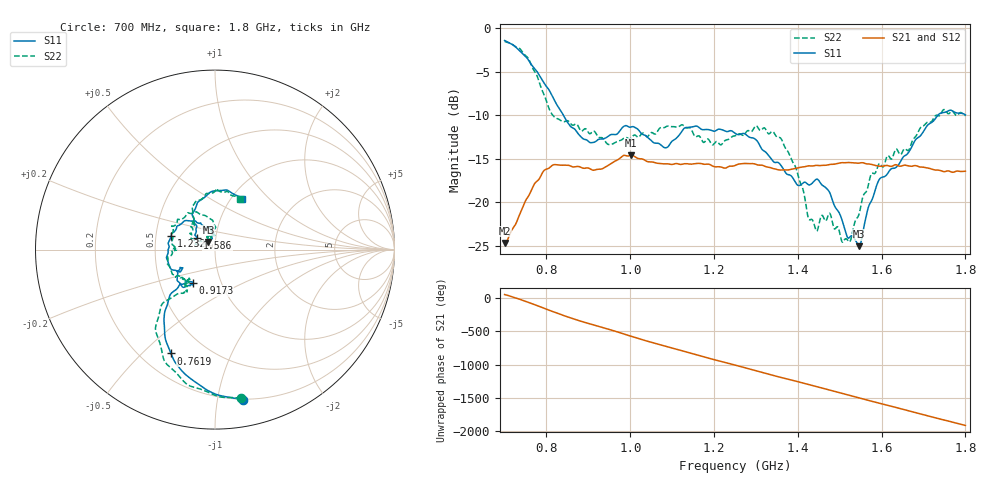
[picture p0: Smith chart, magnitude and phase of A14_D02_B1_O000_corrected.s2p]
! Created with skrf 1.9.0 (http://scikit-rf.org).
# Hz S RI R 50.0
!freq ReS11 ImS11 ReS21 ImS21 ReS12 ImS12 ReS22 ImS22
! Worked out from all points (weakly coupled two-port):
!   1601 points, 700 MHz to 1.8 GHz, reference 50 ohm
!   highest |S21| = -14.59 dB at 1.002 GHz (marker M1); lowest = -24.7 dB at 700 MHz (marker M2)
!   lowest |S11| = -25.0 dB at 1.546 GHz (marker M3), VSWR 1.12, Z = 46.3 + j3.94 ohm
!   |S11| at or under -10 dB: 840.3 MHz to 1.734 GHz (893.8 MHz wide, 69.4 % of centre)
!   |S22| runs from -24.6 to -1.5 dB; largest |S21 - S12| = 0.0035
!   S11 on the Smith chart (normalised r, x): 700 MHz: 0.20, -1.19; 761.9 MHz: 0.32, -0.61; 917.2 MHz: 0.73, -0.29; 1.232 GHz: 0.60, +0.10; 1.586 GHz: 0.81, +0.11; 1.8 GHz: 1.12, +0.70
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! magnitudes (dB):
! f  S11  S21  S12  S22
! 700 MHz  -1.4  -24.7  -24.4  -1.5
! 761.9 MHz  -4.0  -18.8  -18.8  -4.0
! 814.1 MHz  -7.8  -15.7  -15.8  -9.9
! 883.6 MHz  -12.5  -16.0  -15.9  -11.8
! 917.2 MHz  -13.0  -16.3  -16.2  -12.0
! 950.2 MHz  -12.3  -15.7  -15.7  -13.4
! 1.002 GHz  -11.3  -14.6  -14.7  -12.6
! 1.067 GHz  -13.2  -15.5  -15.5  -11.7
! 1.135 GHz  -11.4  -15.6  -15.6  -11.5
! 1.232 GHz  -11.9  -16.0  -15.9  -12.8
! 1.25 GHz  -12.1  -15.8  -15.7  -12.4
! 1.301 GHz  -12.8  -15.7  -15.6  -11.2
! 1.359 GHz  -15.7  -16.3  -16.3  -12.6
! 1.395 GHz  -17.8  -16.1  -16.1  -16.0
! 1.434 GHz  -17.8  -15.8  -15.8  -22.0
! 1.472 GHz  -18.6  -15.7  -15.7  -21.5
! 1.522 GHz  -24.1  -15.4  -15.4  -24.5
! 1.546 GHz  -25.0  -15.5  -15.5  -21.3
! 1.586 GHz  -18.3  -15.8  -15.8  -16.5
! 1.617 GHz  -16.5  -15.8  -15.8  -14.7
! 1.737 GHz  -9.8  -16.3  -16.4  -10.1
! 1.8 GHz  -10.0  -16.4  -16.4  -10.0
